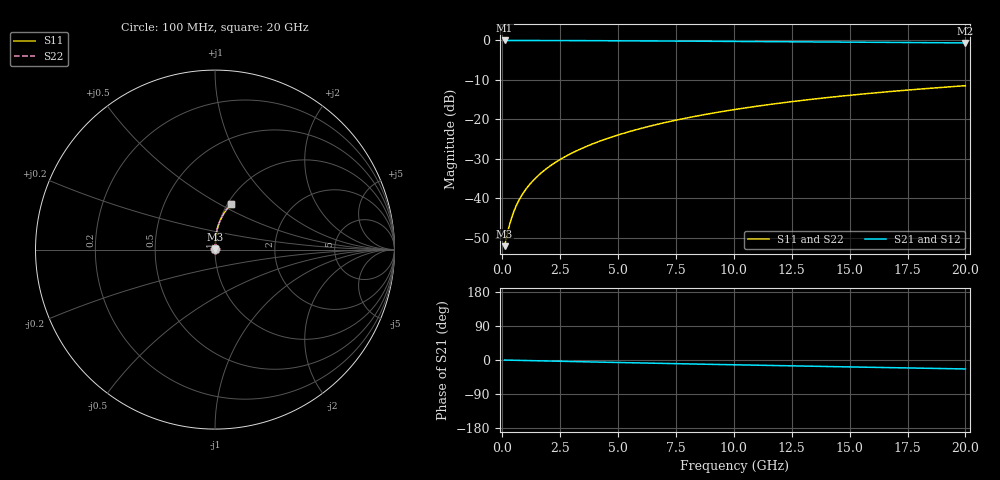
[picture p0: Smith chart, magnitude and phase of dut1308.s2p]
! Touchstone file exported from HFSS 2024.1.0
!  File:  C:/UserFiles/LocalFiles/RDL_TSV_Batchsim/temp_RDL_bottom_1308_1780368383.aedt
!  Generated:  10:49:07 AM Jun  2, 2026
!  Design:  RDL_bottom
!  Project:  temp_RDL_bottom_1308_1780368383
!  Setup:  Setup1
!  Solution:  Sweep
! Variables:
!  dtsv = 10.80580581um
!  hbump = 3um
!  htsv = 67.62um
!  ldown = 280.73um
!  lrdl = 100um
!  p = 40
!  p1 = 53.99um
!  rhole = 1um
!  t = 450um
!  tdown = 2.62um
!  trdl = 3.915915916um
!  wdown = 21.17um
!  wrdl = 20um
# GHz S MA R 50.000000
! Terminal data exported
! Port[1] = RDL1_T1
! Port[2] = RDL1_T2
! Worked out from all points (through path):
!   200 points, 100 MHz to 20 GHz, reference 50 ohm
!   highest |S21| = -0.02 dB at 100 MHz (marker M1); lowest = -0.6 dB at 20 GHz (marker M2)
!   group delay of S21, straight-line fit = 3.26 ps
!   lowest |S11| = -52.2 dB at 100 MHz (marker M3), VSWR 1.00, Z = 50.2 + j0.132 ohm
!   |S11| at or under -10 dB: start of sweep to end of sweep
!   |S22| runs from -52.2 to -11.5 dB; largest |S21 - S12| = 2.6e-15
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0.1  0.002464 32.3  0.9979 -0.1  0.9979 -0.1  0.002464 32.3
! Gamma 0 0 0 0
! Port Impedance 50 0 50 0
0.2  0.003362 51.2  0.9978 -0.3  0.9978 -0.3  0.003368 51.1
0.3  0.004455 61.3  0.9978 -0.4  0.9978 -0.4  0.004467 61.1
0.4  0.005616 67.1  0.9977 -0.6  0.9977 -0.6  0.005631 66.9
0.5  0.0068 70.8  0.9976 -0.7  0.9976 -0.7  0.006816 70.6
0.6  0.00799 73.4  0.9975 -0.8  0.9975 -0.8  0.008006 73.1
0.8  0.01037 76.7  0.9973 -1.1  0.9973 -1.1  0.01038 76.6
1.1  0.01394 79.7  0.9969 -1.5  0.9969 -1.5  0.01395 79.6
1.5  0.01873 82.1  0.9965 -2.0  0.9965 -2.0  0.01873 82.0
1.8  0.02236 83.3  0.996 -2.4  0.996 -2.4  0.02236 83.2
2.1  0.02602 84.1  0.9956 -2.8  0.9956 -2.8  0.02602 84.1
2.7  0.03346 85.2  0.9944 -3.6  0.9944 -3.6  0.03346 85.3
3.5  0.04359 86.0  0.9926 -4.7  0.9926 -4.7  0.04359 86.1
4.2  0.05266 86.3  0.9907 -5.6  0.9907 -5.6  0.05267 86.3
5  0.06324 86.3  0.9884 -6.6  0.9884 -6.6  0.06326 86.3
5.9  0.07539 86.0  0.9854 -7.7  0.9854 -7.7  0.07542 86.0
6.8  0.08774 85.4  0.9823 -8.8  0.9823 -8.8  0.08778 85.5
8.4  0.11 84.1  0.9765 -10.8  0.9765 -10.8  0.1101 84.2
10.1  0.1339 82.4  0.97 -12.8  0.97 -12.8  0.134 82.5
13.4  0.1798 78.6  0.9569 -16.5  0.9569 -16.5  0.1799 78.7
16.7  0.2241 74.7  0.9432 -20.1  0.9432 -20.1  0.2243 74.8
20  0.2664 70.8  0.9289 -23.6  0.9289 -23.6  0.2667 70.9
